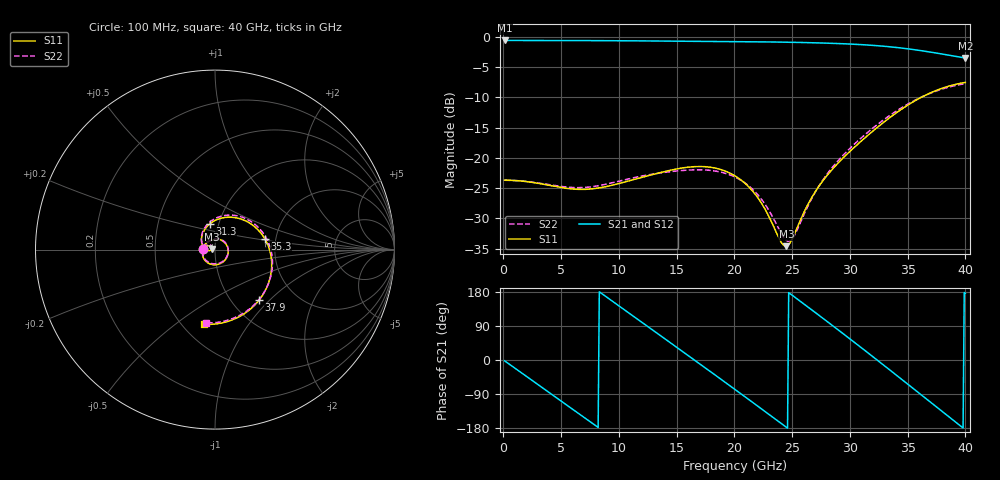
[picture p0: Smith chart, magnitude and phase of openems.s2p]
! C_s8_ap800: L1→L8, antipad Ø0.8 on every plane
! stackup: 8-layer 1.6 mm FR-4 (generic)
! ports: 1, 2
! openEMS 0.37.0, staircase, fine mesh (dfine 0.0175 mm), 1289148 cells
# Hz S RI R 50
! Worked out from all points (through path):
!   400 points, 100 MHz to 40 GHz, reference 50 ohm
!   highest |S21| = -0.59 dB at 100 MHz (marker M1); lowest = -3.5 dB at 40 GHz (marker M2)
!   group delay of S21, straight-line fit = 62.5 ps
!   lowest |S11| = -34.6 dB at 24.5 GHz (marker M3), VSWR 1.04, Z = 48.2 + j0.38 ohm
!   |S11| at or under -10 dB: start of sweep to 36.17 GHz
!   |S22| runs from -33.8 to -7.7 dB; largest |S21 - S12| = 0.0047
!   S11 on the Smith chart (normalised r, x): 100 MHz: 0.88, +0.00; 31.3 GHz: 0.91, +0.27; 35.3 GHz: 1.75, +0.23; 37.9 GHz: 1.32, -0.87; 40 GHz: 0.63, -0.64
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1e8  -0.0655 0.00131  0.9337 -0.0353  0.9337 -0.0353  -0.0653 0.00133
1.7e9  -0.0606 0.0213  0.7475 -0.5602  0.7475 -0.5602  -0.0605 0.0217
3.6e9  -0.046 0.0388  0.1936 -0.9134  0.1936 -0.9134  -0.046 0.0398
5.1e9  -0.0323 0.0466  -0.3279 -0.8737  -0.3279 -0.8736  -0.0323 0.0481
6.8e9  -0.0167 0.0523  -0.7861 -0.5012  -0.7861 -0.5011  -0.0168 0.0543
8.2e9  -0.00148 0.0563  -0.9307 -0.0337  -0.9306 -0.0337  -0.00156 0.0588
9.6e9  0.0198 0.0567  -0.818 0.4425  -0.818 0.4424  0.0197 0.0598
1.16e10  0.0572 0.0358  -0.2859 0.8822  -0.2861 0.8822  0.0572 0.0398
1.34e10  0.0738 -0.0126  0.3371 0.8606  0.3369 0.8609  0.0743 -0.00789
1.52e10  0.0477 -0.0663  0.8039 0.4492  0.8043 0.4496  0.0488 -0.0612
1.67e10  -0.00188 -0.0848  0.9163 -0.0597  0.917 -0.0598  -0.000577 -0.0797
1.82e10  -0.05 -0.0661  0.7338 -0.5483  0.7342 -0.5489  -0.0488 -0.0612
2.01e10  -0.0694 -0.0127  0.1768 -0.8963  0.1765 -0.8969  -0.0687 -0.00738
2.21e10  -0.0408 0.0209  -0.5024 -0.7593  -0.5028 -0.7594  -0.0404 0.0271
2.45e10  -0.0182 0.00394  -0.9033 -0.0378  -0.9039 -0.0376  -0.0175 0.0111
2.67e10  -0.047 -0.00306  -0.6015 0.6626  -0.6017 0.6635  -0.0461 0.00432
2.89e10  -0.0757 0.047  0.1314 0.8719  0.1321 0.8722  -0.0755 0.0545
3.13e10  -0.0286 0.1436  0.7785 0.3648  0.7784 0.3644  -0.0301 0.1526
3.34e10  0.1194 0.1768  0.7519 -0.3503  0.7519 -0.3493  0.1168 0.1894
3.53e10  0.2774 0.0607  0.2607 -0.7465  0.263 -0.7463  0.2775 0.0783
3.79e10  0.2449 -0.2824  -0.4986 -0.5251  -0.4996 -0.5291  0.2551 -0.2659
4e10  -0.0617 -0.416  -0.6669 0.0501  -0.6715 0.051  -0.0503 -0.4082
